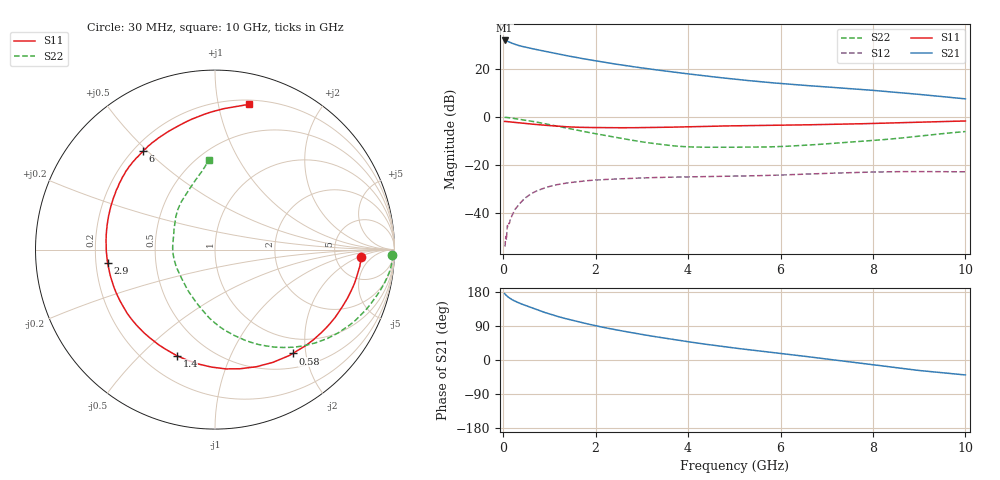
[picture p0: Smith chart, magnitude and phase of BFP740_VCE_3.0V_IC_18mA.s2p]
! Infineon Technologies  Discrete & RF Semiconductors
! BFP740
! VCE =  3.0 V,  IC =  18 mA
! Common Emitter S-Parameters:  Jan 2016
# GHz  S  MA  R  50
!  f  S11  S21  S12  S22
! GHz  MAG  ANG  MAG  ANG  MAG  ANG  MAG  ANG
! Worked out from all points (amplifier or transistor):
!   229 points, 30 MHz to 10 GHz, reference 50 ohm
!   highest |S21| = 32.1 dB at 30 MHz (marker M1)
!   |S21| within 3 dB of that: start of sweep to 522.4 MHz
!   unconditionally stable (mu >= 1): 6.572 GHz to end of sweep
!   at 280 MHz: K = 0.23, MSG = 34.1 dB, |S12| = -38.0 dB
!   at 1.78 GHz: K = 0.42, MSG = 25.5 dB, |S12| = -26.7 dB
!   at 10 GHz: K = 1.03, MAG = 14.3 dB, |S12| = -22.9 dB
!   S11 on the Smith chart (normalised r, x): 30 MHz: 9.16, -2.31; 580 MHz: 0.73, -1.76; 1.4 GHz: 0.33, -0.65; 2.9 GHz: 0.25, -0.06; 6 GHz: 0.24, +0.48; 10 GHz: 0.24, +1.24
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0.03  0.8139 -3.0  40.23 175.2  0.002 107.3  0.9885 -1.7
0.05  0.8131 -5.4  40.05 172.8  0.0029 66.6  0.9894 -3.5
0.08  0.808 -8.5  39.02 169.0  0.0041 80.9  0.984 -5.7
0.11  0.8021 -11.7  38.06 165.8  0.0051 80.8  0.9779 -7.8
0.155  0.7942 -16.2  36.41 161.9  0.0074 80.2  0.9642 -10.8
0.2  0.7859 -20.3  34.91 158.6  0.0091 78.5  0.9505 -13.5
0.34  0.7616 -32.9  31.42 150.6  0.0149 72.6  0.9089 -21.1
0.58  0.7228 -53.2  27.7 139.3  0.0241 63.0  0.8349 -33.0
0.7  0.7063 -62.8  26.2 133.9  0.028 58.6  0.7966 -38.6
0.9  0.6786 -78.0  23.97 125.4  0.0331 52.0  0.7292 -47.3
1.18  0.6459 -96.7  21.07 114.9  0.039 44.0  0.6408 -58.0
1.4  0.6282 -109.8  19.13 107.6  0.0422 38.8  0.5816 -65.4
1.7  0.6119 -125.6  16.91 98.6  0.0455 33.7  0.5093 -74.5
2.22  0.6017 -148.6  13.88 84.8  0.0497 26.2  0.4119 -89.6
2.9  0.6032 -172.7  11.06 69.6  0.053 19.0  0.316 -108.5
3.4  0.6114 172.5  9.513 59.5  0.0547 15.1  0.27 -124.8
4.2  0.6348 153.0  7.622 44.7  0.0568 10.0  0.2365 -153.0
5.1  0.6625 137.3  6.102 30.2  0.0586 6.0  0.2356 -178.5
6  0.6786 126.2  5.066 17.3  0.0616 3.5  0.2429 161.7
6.8  0.6976 116.6  4.416 5.8  0.0657 -0.2  0.2681 146.3
8.4  0.7575 94.2  3.376 -18.7  0.0721 -10.5  0.3497 117.2
10  0.8311 76.7  2.415 -39.4  0.0719 -19.4  0.5004 93.9
